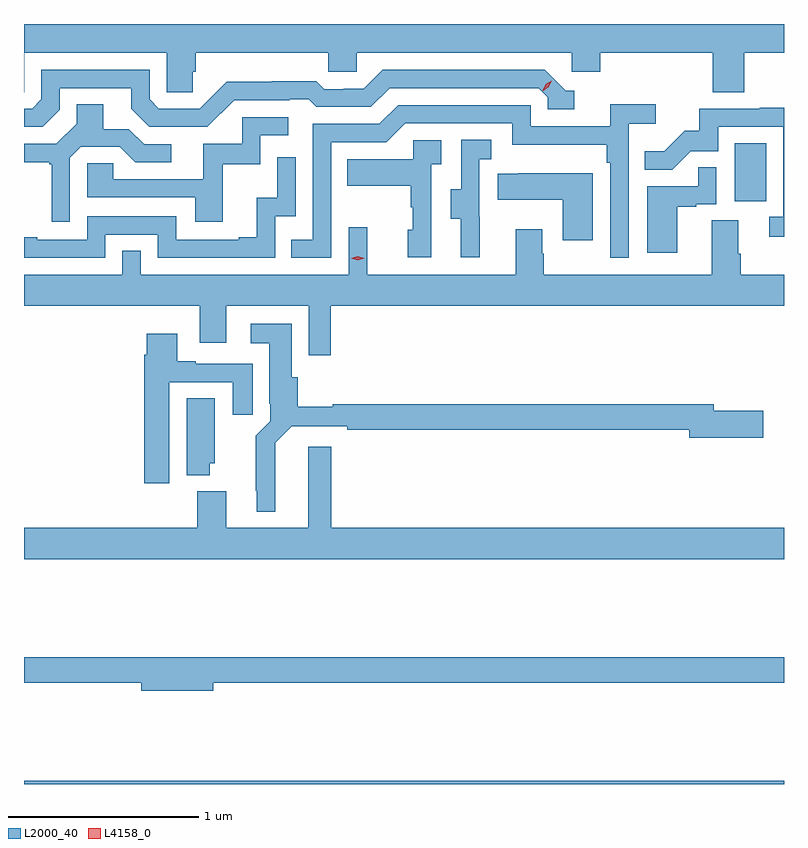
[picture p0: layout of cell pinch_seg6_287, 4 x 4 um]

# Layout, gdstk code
import gdstk
lib = gdstk.Library(unit=1e-6, precision=1e-09)
def R(c, l, rs):  # rectangles x0, y0, x1, y1
    for r in rs: c.add(gdstk.rectangle(r[:2], r[2:], *l))
def P(c, l, *ps):  # polygons
    for p in ps: c.add(gdstk.Polygon(p, *l))
L2000_40 = (2000, 40)
L4158_0 = (4158, 0)

pinch_seg6_287 = lib.new_cell('pinch_seg6_287')
R(pinch_seg6_287, L2000_40, [(788.77,979.452,792.77,979.468), (792.512,982.518,792.676,982.825)])
P(pinch_seg6_287, L2000_40, [(788.772,983.3),(789.522,983.3),(789.522,983.092),(789.659,983.092),(789.659,983.202),(789.674,983.202),(789.674,983.3),(790.371,983.3),(790.371,983.202),(790.521,983.202),(790.521,983.3),(791.652,983.3),(791.652,983.202),(791.804,983.202),(791.804,983.3),(792.395,983.3),(792.395,983.092),(792.56,983.092),(792.56,983.3),(792.77,983.3),(792.77,983.452),(788.77,983.452),(788.77,983.092),(788.772,983.092)],
  [(788.958,983.001),(788.958,983.115),(789.335,983.115),(789.335,983.005),(789.429,982.911),(789.735,982.911),(789.876,983.052),(790.169,983.052),(790.169,983.055),(790.268,983.055),(790.307,983.016),(790.596,983.016),(790.695,983.115),(791.478,983.115),(791.526,983.067),(791.526,983.004),(791.665,983.004),(791.665,983.1),(791.622,983.1),(791.511,983.211),(790.658,983.211),(790.559,983.112),(790.452,983.112),(790.452,983.109),(790.349,983.109),(790.307,983.152),(790.074,983.152),(790.074,983.149),(789.838,983.149),(789.696,983.007),(789.48,983.007),(789.432,983.055),(789.432,983.211),(788.862,983.211),(788.862,983.055),(788.814,983.007),(788.77,983.007),(788.77,982.911),(788.868,982.911)],
  [(789.012,982.749),(789.069,982.806),(789.275,982.806),(789.356,982.725),(789.544,982.725),(789.544,982.818),(789.402,982.818),(789.322,982.898),(789.187,982.898),(789.187,983.03),(789.047,983.03),(789.047,982.928),(788.94,982.821),(788.77,982.821),(788.77,982.724),(788.904,982.724),(788.904,982.713),(788.915,982.713),(788.915,982.41),(789.012,982.41)],
  [(790.386,982.83),(790.677,982.83),(790.776,982.929),(791.34,982.929),(791.34,982.817),(791.836,982.817),(791.836,982.721),(791.856,982.721),(791.856,982.221),(791.952,982.221),(791.952,982.928),(792.094,982.928),(792.094,983.03),(791.855,983.03),(791.855,982.914),(791.436,982.914),(791.436,983.025),(790.739,983.025),(790.64,982.926),(790.29,982.926),(790.29,982.317),(790.177,982.317),(790.177,982.221),(790.386,982.221)],
  [(792.77,983.012),(792.643,983.012),(792.643,983.007),(792.325,983.007),(792.325,982.89),(792.248,982.89),(792.141,982.783),(792.037,982.783),(792.037,982.684),(792.181,982.684),(792.279,982.782),(792.423,982.782),(792.423,982.911),(792.765,982.911),(792.765,982.437),(792.693,982.437),(792.693,982.332),(792.77,982.332)],
  [(789.815,982.713),(790.014,982.713),(790.014,982.866),(790.162,982.866),(790.162,982.962),(789.918,982.962),(789.918,982.821),(789.713,982.821),(789.713,982.635),(789.239,982.635),(789.239,982.719),(789.102,982.719),(789.102,982.539),(789.671,982.539),(789.671,982.41),(789.815,982.41)],
  [(791.168,982.437),(791.166,982.437),(791.166,982.741),(791.23,982.741),(791.23,982.844),(791.07,982.844),(791.07,982.581),(791.015,982.581),(791.015,982.426),(791.069,982.426),(791.069,982.224),(791.168,982.224)],
  [(790.914,982.715),(790.966,982.715),(790.966,982.839),(790.818,982.839),(790.818,982.741),(790.471,982.741),(790.471,982.601),(790.806,982.601),(790.806,982.487),(790.816,982.487),(790.816,982.368),(790.79,982.368),(790.79,982.224),(790.914,982.224)],
  [(789.198,982.344),(789.474,982.344),(789.474,982.221),(790.092,982.221),(790.092,982.44),(790.2,982.44),(790.2,982.75),(790.104,982.75),(790.104,982.538),(789.995,982.538),(789.995,982.33),(789.899,982.33),(789.899,982.317),(789.57,982.317),(789.57,982.44),(789.102,982.44),(789.102,982.317),(788.839,982.317),(788.839,982.33),(788.77,982.33),(788.77,982.221),(789.198,982.221)],
  [(792.208,982.491),(792.308,982.491),(792.308,982.503),(792.414,982.503),(792.414,982.697),(792.319,982.697),(792.319,982.599),(792.05,982.599),(792.05,982.248),(792.208,982.248)],
  [(791.764,982.666),(791.371,982.666),(791.371,982.663),(791.263,982.663),(791.263,982.526),(791.606,982.526),(791.606,982.314),(791.764,982.314)],
  [(790.385,981.968),(792.77,981.968),(792.77,982.132),(792.542,982.132),(792.542,982.244),(792.529,982.244),(792.529,982.418),(792.389,982.418),(792.389,982.132),(791.505,982.132),(791.505,982.244),(791.497,982.244),(791.497,982.372),(791.357,982.372),(791.357,982.132),(790.577,982.132),(790.577,982.381),(790.479,982.381),(790.479,982.132),(789.384,982.132),(789.384,982.259),(789.288,982.259),(789.288,982.132),(788.77,982.132),(788.77,981.968),(789.695,981.968),(789.695,981.774),(789.835,981.774),(789.835,981.968),(790.269,981.968),(790.269,981.708),(790.385,981.708)],
  [(790.093,981.248),(790.18,981.336),(790.471,981.336),(790.471,981.316),(792.272,981.316),(792.272,981.274),(792.661,981.274),(792.661,981.416),(792.4,981.416),(792.4,981.452),(790.394,981.452),(790.394,981.437),(790.211,981.437),(790.211,981.594),(790.18,981.594),(790.18,981.874),(789.963,981.874),(789.963,981.773),(790.061,981.773),(790.061,981.454),(790.065,981.454),(790.065,981.36),(789.991,981.286),(789.991,980.995),(789.995,980.995),(789.995,980.885),(790.093,980.885)],
  [(789.535,981.567),(789.869,981.567),(789.869,981.396),(789.973,981.396),(789.973,981.663),(789.673,981.663),(789.673,981.676),(789.577,981.676),(789.577,981.823),(789.416,981.823),(789.416,981.71),(789.404,981.71),(789.404,981.036),(789.535,981.036)],
  [(789.748,981.141),(789.775,981.141),(789.775,981.482),(789.626,981.482),(789.626,981.077),(789.748,981.077)],
  [(792.77,980.8),(790.388,980.8),(790.388,981.226),(790.265,981.226),(790.265,980.8),(789.835,980.8),(789.835,980.992),(789.683,980.992),(789.683,980.8),(788.77,980.8),(788.77,980.636),(792.77,980.636)],
  [(789.766,979.984),(792.77,979.984),(792.77,980.12),(788.77,980.12),(788.77,979.984),(789.386,979.984),(789.386,979.942),(789.766,979.942)])
P(pinch_seg6_287, L4158_0, [(791.501,983.102),(791.501,983.102),(791.517,983.135),(791.547,983.154),(791.548,983.154),(791.548,983.154),(791.532,983.122),(791.502,983.102)],
  [(790.526,982.209),(790.49,982.218),(790.49,982.219),(790.49,982.219),(790.526,982.229),(790.562,982.219),(790.562,982.219),(790.562,982.218)])

lib.write_gds('pinch_seg6_287.gds')
